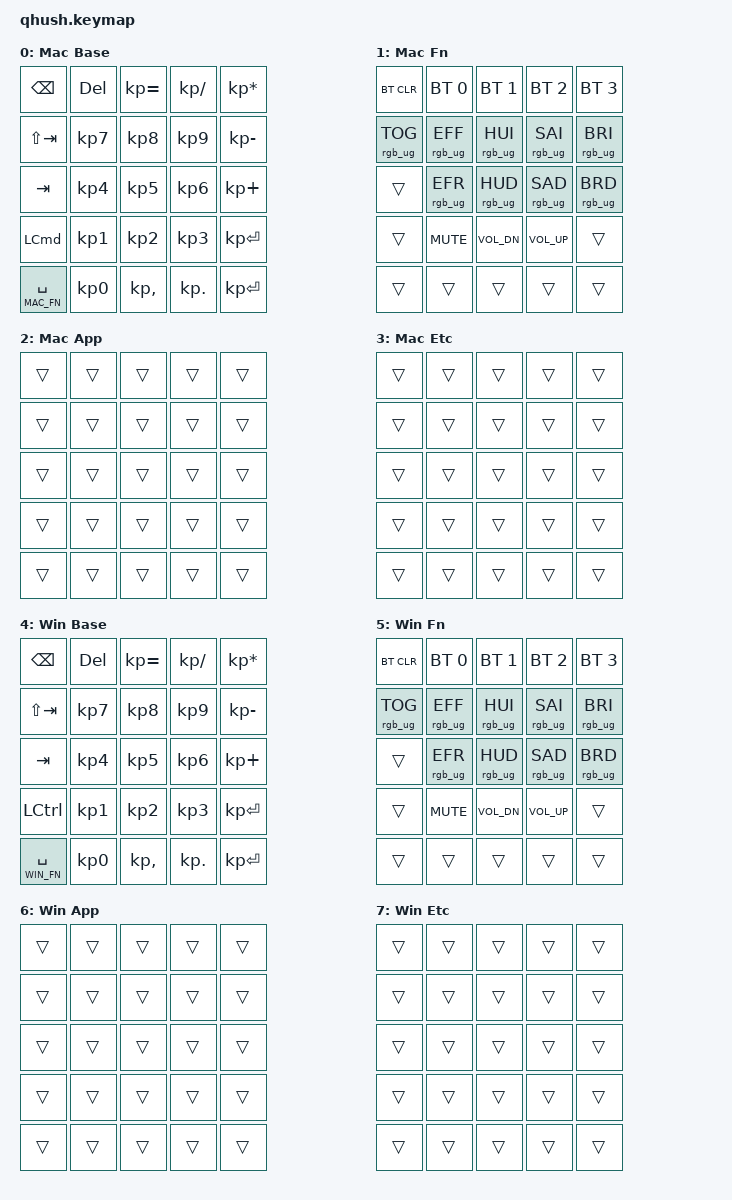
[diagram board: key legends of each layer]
#include <behaviors.dtsi>
#include <dt-bindings/zmk/keys.h>
#include <dt-bindings/zmk/bt.h>
#include <dt-bindings/zmk/pointing.h>
#include <dt-bindings/zmk/rgb.h>

// --- レイヤー定義 (Mac: 0-3, Win: 4-7) ---
#define MAC_BASE 0
#define MAC_FN   1
#define MAC_APP  2
#define MAC_ETC  3

#define WIN_BASE 4
#define WIN_FN   5
#define WIN_APP  6
#define WIN_ETC  7


/ {
    // OS切替え用
    combos {
        compatible = "zmk,combos";

        combo_os_toggle {
            timeout-ms = <50>;
            key-positions = <0 4>; // 0番(BSPC)と4番(*)の同時押し
            bindings = <&tog WIN_BASE>; // WIN_BASEレイヤーをオン/オフする
        };
    };
};


/ {
    keymap {
        compatible = "zmk,keymap";

        // [0] Mac デフォルト
        mac_base {
            display-name = "Mac Base";
            bindings = <
                &kp BSPC         &kp DEL    &kp KP_EQUAL  &kp KP_DIVIDE  &kp KP_MULTIPLY
                &kp LS(TAB)      &kp KP_N7  &kp KP_N8     &kp KP_N9      &kp KP_MINUS
                &kp TAB          &kp KP_N4  &kp KP_N5     &kp KP_N6      &kp KP_PLUS
                &kp LCMD         &kp KP_N1  &kp KP_N2     &kp KP_N3      &kp KP_ENTER
                &lt MAC_FN SPACE &kp KP_N0  &kp KP_COMMA  &kp KP_DOT     &kp KP_ENTER
            >;
        };

        // [1] Mac ファンクション
        mac_fn {
            display-name = "Mac Fn";
            bindings = <
                &bt BT_CLR       &bt BT_SEL 0     &bt BT_SEL 1    &bt BT_SEL 2 &bt BT_SEL 3
                &rgb_ug RGB_TOG  &rgb_ug RGB_EFF  &rgb_ug RGB_HUI &rgb_ug RGB_SAI  &rgb_ug RGB_BRI
                &trans           &rgb_ug RGB_EFR  &rgb_ug RGB_HUD &rgb_ug RGB_SAD  &rgb_ug RGB_BRD
                // &trans &trans &trans &trans &trans
                // &trans &trans &trans &trans &trans
                &trans           &kp C_MUTE       &kp C_VOL_DN    &kp C_VOL_UP     &trans
                &trans &trans &trans &trans &trans
            >;
        };

        // [2] Mac アプリケーション
        mac_app {
            display-name = "Mac App";
            bindings = <
                &trans &trans &trans &trans &trans
                &trans &trans &trans &trans &trans
                &trans &trans &trans &trans &trans
                &trans &trans &trans &trans &trans
                &trans &trans &trans &trans &trans
            >;
        };

        // [3] Mac その他
        mac_etc {
            display-name = "Mac Etc";
            bindings = <
                &trans &trans &trans &trans &trans
                &trans &trans &trans &trans &trans
                &trans &trans &trans &trans &trans
                &trans &trans &trans &trans &trans
                &trans &trans &trans &trans &trans
            >;
        };

        // [0] Windows デフォルト
        win_base {
            display-name = "Win Base";
            bindings = <
                &kp BSPC         &kp DEL    &kp KP_EQUAL  &kp KP_DIVIDE  &kp KP_MULTIPLY
                &kp LS(TAB)      &kp KP_N7  &kp KP_N8     &kp KP_N9      &kp KP_MINUS
                &kp TAB          &kp KP_N4  &kp KP_N5     &kp KP_N6      &kp KP_PLUS
                &kp LCTRL        &kp KP_N1  &kp KP_N2     &kp KP_N3      &kp KP_ENTER
                &lt WIN_FN SPACE &kp KP_N0  &kp KP_COMMA  &kp KP_DOT     &kp KP_ENTER
            >;
        };

        // [1] Windows ファンクション
        win_fn {
            display-name = "Win Fn";
            bindings = <
                &bt BT_CLR       &bt BT_SEL 0     &bt BT_SEL 1    &bt BT_SEL 2     &bt BT_SEL 3
                &rgb_ug RGB_TOG  &rgb_ug RGB_EFF  &rgb_ug RGB_HUI &rgb_ug RGB_SAI  &rgb_ug RGB_BRI
                &trans           &rgb_ug RGB_EFR  &rgb_ug RGB_HUD &rgb_ug RGB_SAD  &rgb_ug RGB_BRD
                // &trans &trans &trans &trans &trans
                // &trans &trans &trans &trans &trans
                &trans           &kp C_MUTE       &kp C_VOL_DN    &kp C_VOL_UP     &trans
                &trans           &trans           &trans          &trans           &trans
            >;
        };

        // [2] Windows アプリケーション
        win_app {
            display-name = "Win App";
            bindings = <
                &trans &trans &trans &trans &trans
                &trans &trans &trans &trans &trans
                &trans &trans &trans &trans &trans
                &trans &trans &trans &trans &trans
                &trans &trans &trans &trans &trans
            >;
        };

        // [3] Windows その他
        win_etc {
            display-name = "Win Etc";
            bindings = <
                &trans &trans &trans &trans &trans
                &trans &trans &trans &trans &trans
                &trans &trans &trans &trans &trans
                &trans &trans &trans &trans &trans
                &trans &trans &trans &trans &trans
            >;
        };
    };
};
